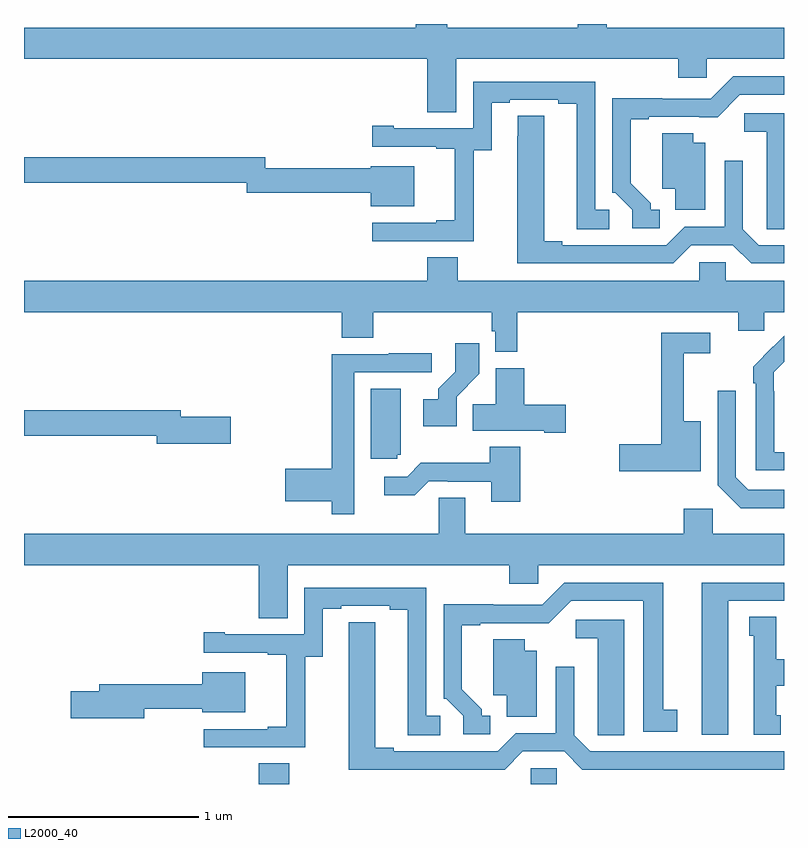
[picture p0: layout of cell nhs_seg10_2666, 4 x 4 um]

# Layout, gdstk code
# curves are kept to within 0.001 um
import gdstk
lib = gdstk.Library(unit=1e-6, precision=1e-09)
def R(c, l, rs):  # rectangles x0, y0, x1, y1
    for r in rs: c.add(gdstk.rectangle(r[:2], r[2:], *l))
def P(c, l, *ps):  # polygons
    for p in ps: c.add(gdstk.Polygon(p, *l))
L2000_40 = (2000, 40)

nhs_seg10_2666 = lib.new_cell('nhs_seg10_2666')
R(nhs_seg10_2666, L2000_40, [(256.235,1296.5,256.395,1296.608), (257.667,1296.5,257.805,1296.582)])
P(nhs_seg10_2666, L2000_40, [(257.275,1300.316),(258.443,1300.316),(258.443,1300.218),(258.594,1300.218),(258.594,1300.316),(259,1300.316),(259,1300.48),(258.068,1300.48),(258.068,1300.5),(257.915,1300.5),(257.915,1300.48),(257.228,1300.48),(257.228,1300.5),(257.063,1300.5),(257.063,1300.48),(255,1300.48),(255,1300.316),(257.123,1300.316),(257.123,1300.036),(257.275,1300.036)],
  [(258.347,1299.522),(258.298,1299.522),(258.298,1299.557),(258.193,1299.662),(258.193,1299.999),(258.289,1299.999),(258.289,1300.011),(258.65,1300.01),(258.768,1300.128),(259,1300.128),(259,1300.224),(258.732,1300.224),(258.615,1300.107),(258.359,1300.107),(258.359,1300.109),(258.096,1300.109),(258.096,1299.612),(258.111,1299.612),(258.201,1299.522),(258.201,1299.426),(258.347,1299.426)],
  [(257.367,1299.835),(257.461,1299.835),(257.461,1300.086),(257.557,1300.086),(257.557,1300.101),(257.813,1300.101),(257.813,1300.081),(257.909,1300.081),(257.909,1299.421),(258.079,1299.421),(258.079,1299.522),(258.006,1299.522),(258.006,1300.197),(257.364,1300.197),(257.364,1299.951),(256.945,1299.951),(256.945,1299.964),(256.833,1299.964),(256.833,1299.855),(257.171,1299.855),(257.171,1299.843),(257.267,1299.843),(257.267,1299.466),(257.171,1299.466),(257.171,1299.453),(256.833,1299.453),(256.833,1299.357),(257.367,1299.357)],
  [(259,1300.029),(258.791,1300.029),(258.791,1299.932),(258.908,1299.932),(258.908,1299.529),(258.909,1299.529),(258.909,1299.421),(259,1299.421)],
  [(258.513,1299.336),(258.731,1299.336),(258.827,1299.24),(259,1299.24),(259,1299.336),(258.867,1299.336),(258.783,1299.42),(258.783,1299.781),(258.687,1299.781),(258.687,1299.432),(258.477,1299.432),(258.381,1299.336),(257.833,1299.336),(257.833,1299.356),(257.737,1299.356),(257.737,1300.016),(257.598,1300.016),(257.597,1299.24),(258.417,1299.24)],
  [(258.586,1299.874),(258.523,1299.874),(258.523,1299.926),(258.359,1299.926),(258.359,1299.632),(258.428,1299.632),(258.428,1299.522),(258.586,1299.522)],
  [(257.053,1299.751),(256.826,1299.751),(256.826,1299.74),(256.269,1299.74),(256.269,1299.8),(255,1299.8),(255,1299.664),(256.173,1299.664),(256.173,1299.612),(256.826,1299.612),(256.826,1299.542),(257.053,1299.542)],
  [(257.597,1298.984),(258.758,1298.984),(258.758,1298.886),(258.897,1298.886),(258.897,1298.984),(259,1298.984),(259,1299.148),(258.693,1299.148),(258.693,1299.246),(258.555,1299.246),(258.555,1299.148),(257.283,1299.148),(257.283,1299.272),(257.123,1299.272),(257.123,1299.148),(255,1299.148),(255,1298.984),(256.673,1298.984),(256.673,1298.848),(256.838,1298.848),(256.838,1298.984),(257.461,1298.984),(257.461,1298.883),(257.481,1298.883),(257.481,1298.774),(257.597,1298.774)],
  [(258.562,1298.41),(258.473,1298.41),(258.473,1298.766),(258.613,1298.766),(258.613,1298.874),(258.355,1298.874),(258.355,1298.288),(258.132,1298.288),(258.132,1298.146),(258.562,1298.146)],
  [(259,1298.247),(258.948,1298.247),(258.948,1298.567),(258.945,1298.567),(258.945,1298.667),(259,1298.722),(259,1298.858),(258.837,1298.697),(258.837,1298.609),(258.852,1298.609),(258.852,1298.151),(259,1298.151)],
  [(257.277,1298.539),(257.396,1298.658),(257.396,1298.821),(257.271,1298.821),(257.271,1298.669),(257.18,1298.579),(257.18,1298.524),(257.1,1298.524),(257.1,1298.384),(257.277,1298.384)],
  [(256.738,1298.142),(256.737,1298.142),(256.737,1298.667),(257.146,1298.667),(257.146,1298.766),(256.921,1298.766),(256.921,1298.763),(256.621,1298.763),(256.621,1298.159),(256.374,1298.159),(256.374,1297.988),(256.621,1297.988),(256.621,1297.92),(256.738,1297.92)],
  [(257.851,1298.495),(257.633,1298.495),(257.633,1298.689),(257.483,1298.689),(257.483,1298.498),(257.362,1298.498),(257.362,1298.36),(257.738,1298.36),(257.738,1298.348),(257.851,1298.348)],
  [(256.965,1298.232),(256.984,1298.232),(256.984,1298.581),(256.826,1298.581),(256.826,1298.211),(256.965,1298.211)],
  [(259,1298.049),(258.813,1298.049),(258.747,1298.115),(258.747,1298.569),(258.651,1298.569),(258.651,1298.073),(258.772,1297.952),(259,1297.952)],
  [(256.087,1298.432),(255.826,1298.432),(255.826,1298.468),(255,1298.468),(255,1298.332),(255.698,1298.332),(255.698,1298.29),(256.087,1298.29)],
  [(257.612,1298.275),(257.452,1298.275),(257.452,1298.191),(257.089,1298.191),(257.016,1298.118),(256.896,1298.118),(256.896,1298.021),(257.057,1298.021),(257.13,1298.094),(257.23,1298.094),(257.23,1298.091),(257.459,1298.091),(257.459,1297.986),(257.612,1297.986)],
  [(256.387,1297.652),(257.555,1297.652),(257.555,1297.554),(257.706,1297.554),(257.706,1297.652),(259,1297.652),(259,1297.816),(258.624,1297.816),(258.624,1297.948),(258.473,1297.948),(258.473,1297.816),(257.323,1297.816),(257.323,1298.006),(257.184,1298.006),(257.184,1297.816),(255,1297.816),(255,1297.652),(256.235,1297.652),(256.235,1297.372),(256.387,1297.372)],
  [(257.455,1296.858),(257.41,1296.858),(257.41,1296.893),(257.305,1296.998),(257.305,1297.335),(257.401,1297.335),(257.401,1297.347),(257.762,1297.346),(257.88,1297.464),(258.26,1297.464),(258.26,1296.774),(258.439,1296.774),(258.439,1296.89),(258.364,1296.89),(258.364,1297.56),(257.844,1297.56),(257.727,1297.443),(257.471,1297.443),(257.471,1297.445),(257.208,1297.445),(257.208,1296.948),(257.223,1296.948),(257.313,1296.858),(257.313,1296.762),(257.455,1296.762)],
  [(258.706,1297.464),(259,1297.464),(259,1297.56),(258.566,1297.56),(258.566,1296.759),(258.706,1296.759)],
  [(256.479,1297.171),(256.573,1297.171),(256.573,1297.422),(256.669,1297.422),(256.669,1297.437),(256.925,1297.437),(256.925,1297.417),(257.021,1297.417),(257.021,1296.757),(257.191,1296.757),(257.191,1296.858),(257.118,1296.858),(257.118,1297.533),(256.476,1297.533),(256.476,1297.287),(256.057,1297.287),(256.057,1297.3),(255.945,1297.3),(255.945,1297.191),(256.283,1297.191),(256.283,1297.179),(256.379,1297.179),(256.379,1296.802),(256.283,1296.802),(256.283,1296.789),(255.945,1296.789),(255.945,1296.693),(256.479,1296.693)],
  [(258.982,1296.861),(258.958,1296.861),(258.958,1297.016),(259,1297.016),(259,1297.156),(258.958,1297.156),(258.958,1297.379),(258.818,1297.379),(258.818,1297.281),(258.842,1297.281),(258.842,1296.759),(258.982,1296.759)],
  [(258.16,1297.365),(257.904,1297.365),(257.904,1297.268),(258.02,1297.268),(258.02,1296.865),(258.021,1296.865),(258.021,1296.757),(258.16,1296.757)],
  [(257.625,1296.672),(257.843,1296.672),(257.939,1296.576),(259,1296.576),(259,1296.672),(257.979,1296.672),(257.895,1296.756),(257.895,1297.117),(257.799,1297.117),(257.799,1296.768),(257.589,1296.768),(257.493,1296.672),(256.945,1296.672),(256.945,1296.692),(256.849,1296.692),(256.849,1297.352),(256.71,1297.352),(256.709,1296.576),(257.529,1296.576)],
  [(257.698,1297.201),(257.635,1297.201),(257.635,1297.262),(257.471,1297.262),(257.471,1296.968),(257.54,1296.968),(257.54,1296.853),(257.698,1296.853)],
  [(255.634,1296.897),(255.938,1296.897),(255.938,1296.878),(256.165,1296.878),(256.165,1297.087),(255.938,1297.087),(255.938,1297.025),(255.395,1297.025),(255.395,1296.989),(255.246,1296.989),(255.246,1296.847),(255.634,1296.847)])

lib.write_gds('nhs_seg10_2666.gds')
